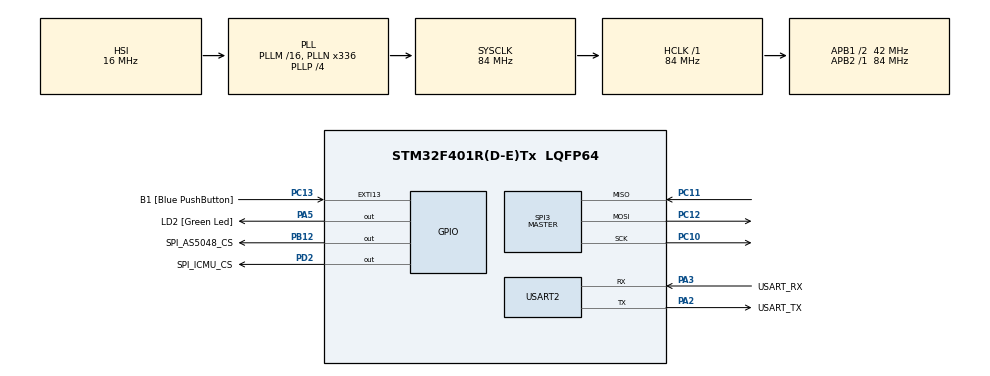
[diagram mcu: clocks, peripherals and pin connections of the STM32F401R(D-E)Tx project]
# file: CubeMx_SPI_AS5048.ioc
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Dma.Request0=SPI3_RX
Dma.Request1=SPI3_TX
Dma.SPI3_RX.0.Direction=DMA_PERIPH_TO_MEMORY
Dma.SPI3_RX.0.FIFOMode=DMA_FIFOMODE_DISABLE
Dma.SPI3_RX.0.Instance=DMA1_Stream0
Dma.SPI3_RX.0.MemDataAlignment=DMA_MDATAALIGN_BYTE
Dma.SPI3_RX.0.MemInc=DMA_MINC_ENABLE
Dma.SPI3_RX.0.Mode=DMA_NORMAL
Dma.SPI3_RX.0.PeriphDataAlignment=DMA_PDATAALIGN_BYTE
Dma.SPI3_RX.0.PeriphInc=DMA_PINC_DISABLE
Dma.SPI3_RX.0.Priority=DMA_PRIORITY_LOW
Dma.SPI3_TX.1.Direction=DMA_MEMORY_TO_PERIPH
Dma.SPI3_TX.1.FIFOMode=DMA_FIFOMODE_DISABLE
Dma.SPI3_TX.1.Instance=DMA1_Stream5
Dma.SPI3_TX.1.MemDataAlignment=DMA_MDATAALIGN_BYTE
Dma.SPI3_TX.1.MemInc=DMA_MINC_ENABLE
Dma.SPI3_TX.1.Mode=DMA_NORMAL
Dma.SPI3_TX.1.PeriphDataAlignment=DMA_PDATAALIGN_BYTE
Dma.SPI3_TX.1.PeriphInc=DMA_PINC_DISABLE
Dma.SPI3_TX.1.Priority=DMA_PRIORITY_LOW
Mcu.Family=STM32F4
Mcu.Name=STM32F401R(D-E)Tx
Mcu.Package=LQFP64
NVIC.DMA1_Stream0_IRQn=true\:0\:0\:false\:false\:true\:false\:true\:true
NVIC.DMA1_Stream5_IRQn=true\:0\:0\:false\:false\:true\:false\:true\:true
NVIC.PriorityGroup=NVIC_PRIORITYGROUP_4
NVIC.SPI3_IRQn=true\:0\:0\:false\:false\:true\:true\:true\:true
PA13.GPIO_Label=TMS
PA13.Mode=Serial_Wire
PA13.Signal=SYS_JTMS-SWDIO
PA14.GPIO_Label=TCK
PA14.Mode=Serial_Wire
PA14.Signal=SYS_JTCK-SWCLK
PA2.GPIO_Label=USART_TX
PA2.GPIO_Mode=GPIO_MODE_AF_PP
PA2.GPIO_PuPd=GPIO_NOPULL
PA2.GPIO_Speed=GPIO_SPEED_FREQ_LOW
PA2.Mode=Asynchronous
PA2.Signal=USART2_TX
PA3.GPIO_Label=USART_RX
PA3.GPIO_Mode=GPIO_MODE_AF_PP
PA3.GPIO_PuPd=GPIO_NOPULL
PA3.GPIO_Speed=GPIO_SPEED_FREQ_LOW
PA3.Mode=Asynchronous
PA3.Signal=USART2_RX
PA5.GPIO_Label=LD2 [Green Led]
PA5.GPIO_Mode=GPIO_MODE_OUTPUT_PP
PA5.GPIO_PuPd=GPIO_NOPULL
PA5.GPIO_Speed=GPIO_SPEED_FREQ_LOW
PA5.Signal=GPIO_Output
PB12.GPIO_Label=SPI_AS5048_CS
PB12.GPIO_PuPd=GPIO_PULLUP
PB12.GPIO_Speed=GPIO_SPEED_FREQ_VERY_HIGH
PB12.Signal=GPIO_Output
PB3.GPIO_Label=SWO
PB3.Signal=SYS_JTDO-SWO
PC10.Mode=Full_Duplex_Master
PC10.Signal=SPI3_SCK
PC11.Mode=Full_Duplex_Master
PC11.Signal=SPI3_MISO
PC12.Mode=Full_Duplex_Master
PC12.Signal=SPI3_MOSI
PC13-ANTI_TAMP.GPIO_Label=B1 [Blue PushButton]
PC13-ANTI_TAMP.GPIO_ModeDefaultEXTI=GPIO_MODE_IT_FALLING
PC13-ANTI_TAMP.GPIO_PuPd=GPIO_NOPULL
PC13-ANTI_TAMP.Signal=GPXTI13
PC14-OSC32_IN.Mode=LSE-External-Oscillator
PC14-OSC32_IN.Signal=RCC_OSC32_IN
PC15-OSC32_OUT.Mode=LSE-External-Oscillator
PC15-OSC32_OUT.Signal=RCC_OSC32_OUT
PD2.GPIO_Label=SPI_ICMU_CS
PD2.Signal=GPIO_Output
PH0\ -\ OSC_IN.Mode=HSE-External-Clock-Source
PH0\ -\ OSC_IN.Signal=RCC_OSC_IN
PH1\ -\ OSC_OUT.Mode=HSE-External-Clock-Source
PH1\ -\ OSC_OUT.Signal=RCC_OSC_OUT
ProjectManager.HeapSize=0x200
ProjectManager.StackSize=0x400
ProjectManager.TargetToolchain=STM32CubeIDE
RCC.48MHZClocksFreq_Value=48000000
RCC.AHBFreq_Value=84000000
RCC.APB1CLKDivider=RCC_HCLK_DIV2
RCC.APB1Freq_Value=42000000
RCC.APB1TimFreq_Value=84000000
RCC.APB2Freq_Value=84000000
RCC.APB2TimFreq_Value=84000000
RCC.CortexFreq_Value=84000000
RCC.HCLKFreq_Value=84000000
RCC.HSE_VALUE=8000000
RCC.HSI_VALUE=16000000
RCC.PLLN=336
RCC.PLLP=RCC_PLLP_DIV4
RCC.PLLQ=7
RCC.SYSCLKFreq_VALUE=84000000
RCC.SYSCLKSource=RCC_SYSCLKSOURCE_PLLCLK
RCC.VCOOutputFreq_Value=336000000
SPI3.BaudRatePrescaler=SPI_BAUDRATEPRESCALER_128
SPI3.Direction=SPI_DIRECTION_2LINES
SPI3.Mode=SPI_MODE_MASTER
SPI3.VirtualType=VM_MASTER
USART2.VirtualMode=VM_ASYNC
board=NUCLEO-F401RE

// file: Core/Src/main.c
/* USER CODE BEGIN Header */
/**
  ******************************************************************************
  * @file           : main.c
  * @brief          : Main program body
  ******************************************************************************
  * @attention
  *
  Debug program to test the SPI communication with AS5048 and icMU with DWT (µs dalay)
  * and cpp compilation in root mode (file system compatible with MC-SDK).
  *

  *
  ******************************************************************************
  */
/* USER CODE END Header */
#include "main.h"

/* USER CODE BEGIN Includes */
#include "stm32f4xx_hal.h"
#include "cpp_link.hpp"
#include "stdio.h"
#include "stdarg.h"
#include "string.h"
/* USER CODE END Includes */

 SPI_HandleTypeDef hspi3;
DMA_HandleTypeDef hdma_spi3_rx;
DMA_HandleTypeDef hdma_spi3_tx;

UART_HandleTypeDef huart2;

void SystemClock_Config(void);
static void MX_GPIO_Init(void);
static void MX_DMA_Init(void);
static void MX_USART2_UART_Init(void);
static void MX_SPI3_Init(void);

/* USER CODE BEGIN 0 */
#ifdef __GNUC__
	#define PUTCHAR_PROTOTYPE int __io_putchar(int ch)
#else
	#define PUTCHAR_PROTOTYPE int std::fputc(int ch, FILE *f)
#endif /* __GNUC__ */

/**
 * @brief Retargets the C library printf function to the USART.
 * @param None
 * @retval None
 */
#ifdef __cplusplus
 extern "C" {
#endif

		PUTCHAR_PROTOTYPE
		{
		 /* Place your implementation of fputc here */
		 /* e.g. write a character to the USART2 and Loop until the end of transmission */
		 HAL_UART_Transmit(&huart2, (uint8_t *)&ch, 1, 0xFFFF);

		return ch;
		}

#ifdef __cplusplus
}
#endif
/* USER CODE END 0 */

int main(void)
{

  /* MCU Configuration--------------------------------------------------------*/

  /* Reset of all peripherals, Initializes the Flash interface and the Systick. */
  HAL_Init();

  /* Configure the system clock */
  SystemClock_Config();

  /* Initialize all configured peripherals */
  MX_GPIO_Init();
  MX_DMA_Init();
  MX_USART2_UART_Init();
  MX_SPI3_Init();
  /* USER CODE BEGIN 2 */
  cpp_link(&hspi3);
  /* USER CODE END 2 */

  /* Infinite loop */
  while (1)
  {

  }
}

void SystemClock_Config(void)
{
  RCC_OscInitTypeDef RCC_OscInitStruct = {0};
  RCC_ClkInitTypeDef RCC_ClkInitStruct = {0};

  /** Configure the main internal regulator output voltage
  */
  __HAL_RCC_PWR_CLK_ENABLE();
  __HAL_PWR_VOLTAGESCALING_CONFIG(PWR_REGULATOR_VOLTAGE_SCALE2);

  /** Initializes the RCC Oscillators according to the specified parameters
  * in the RCC_OscInitTypeDef structure.
  */
  RCC_OscInitStruct.OscillatorType = RCC_OSCILLATORTYPE_HSI;
  RCC_OscInitStruct.HSIState = RCC_HSI_ON;
  RCC_OscInitStruct.HSICalibrationValue = RCC_HSICALIBRATION_DEFAULT;
  RCC_OscInitStruct.PLL.PLLState = RCC_PLL_ON;
  RCC_OscInitStruct.PLL.PLLSource = RCC_PLLSOURCE_HSI;
  RCC_OscInitStruct.PLL.PLLM = 16;
  RCC_OscInitStruct.PLL.PLLN = 336;
  RCC_OscInitStruct.PLL.PLLP = RCC_PLLP_DIV4;
  RCC_OscInitStruct.PLL.PLLQ = 7;
  if (HAL_RCC_OscConfig(&RCC_OscInitStruct) != HAL_OK)
  {
    Error_Handler();
  }

  /** Initializes the CPU, AHB and APB buses clocks
  */
  RCC_ClkInitStruct.ClockType = RCC_CLOCKTYPE_HCLK|RCC_CLOCKTYPE_SYSCLK
                              |RCC_CLOCKTYPE_PCLK1|RCC_CLOCKTYPE_PCLK2;
  RCC_ClkInitStruct.SYSCLKSource = RCC_SYSCLKSOURCE_PLLCLK;
  RCC_ClkInitStruct.AHBCLKDivider = RCC_SYSCLK_DIV1;
  RCC_ClkInitStruct.APB1CLKDivider = RCC_HCLK_DIV2;
  RCC_ClkInitStruct.APB2CLKDivider = RCC_HCLK_DIV1;

  if (HAL_RCC_ClockConfig(&RCC_ClkInitStruct, FLASH_LATENCY_2) != HAL_OK)
  {
    Error_Handler();
  }
}

static void MX_SPI3_Init(void)
{

  /* SPI3 parameter configuration*/
  hspi3.Instance = SPI3;
  hspi3.Init.Mode = SPI_MODE_MASTER;
  hspi3.Init.Direction = SPI_DIRECTION_2LINES;
  hspi3.Init.DataSize = SPI_DATASIZE_8BIT;
  hspi3.Init.CLKPolarity = SPI_POLARITY_LOW;
  hspi3.Init.CLKPhase = SPI_PHASE_1EDGE;
  hspi3.Init.NSS = SPI_NSS_SOFT;
  hspi3.Init.BaudRatePrescaler = SPI_BAUDRATEPRESCALER_128;
  hspi3.Init.FirstBit = SPI_FIRSTBIT_MSB;
  hspi3.Init.TIMode = SPI_TIMODE_DISABLE;
  hspi3.Init.CRCCalculation = SPI_CRCCALCULATION_DISABLE;
  hspi3.Init.CRCPolynomial = 10;
  if (HAL_SPI_Init(&hspi3) != HAL_OK)
  {
    Error_Handler();
  }

}

static void MX_USART2_UART_Init(void)
{

  huart2.Instance = USART2;
  huart2.Init.BaudRate = 115200;
  huart2.Init.WordLength = UART_WORDLENGTH_8B;
  huart2.Init.StopBits = UART_STOPBITS_1;
  huart2.Init.Parity = UART_PARITY_NONE;
  huart2.Init.Mode = UART_MODE_TX_RX;
  huart2.Init.HwFlowCtl = UART_HWCONTROL_NONE;
  huart2.Init.OverSampling = UART_OVERSAMPLING_16;
  if (HAL_UART_Init(&huart2) != HAL_OK)
  {
    Error_Handler();
  }

}

static void MX_DMA_Init(void)
{

  /* DMA controller clock enable */
  __HAL_RCC_DMA1_CLK_ENABLE();

  /* DMA interrupt init */
  /* DMA1_Stream0_IRQn interrupt configuration */
  HAL_NVIC_SetPriority(DMA1_Stream0_IRQn, 0, 0);
  HAL_NVIC_EnableIRQ(DMA1_Stream0_IRQn);
  /* DMA1_Stream5_IRQn interrupt configuration */
  HAL_NVIC_SetPriority(DMA1_Stream5_IRQn, 0, 0);
  HAL_NVIC_EnableIRQ(DMA1_Stream5_IRQn);

}

static void MX_GPIO_Init(void)
{
  GPIO_InitTypeDef GPIO_InitStruct = {0};

  /* GPIO Ports Clock Enable */
  __HAL_RCC_GPIOC_CLK_ENABLE();
  __HAL_RCC_GPIOH_CLK_ENABLE();
  __HAL_RCC_GPIOA_CLK_ENABLE();
  __HAL_RCC_GPIOB_CLK_ENABLE();
  __HAL_RCC_GPIOD_CLK_ENABLE();

  /*Configure GPIO pin Output Level */
  HAL_GPIO_WritePin(LD2_GPIO_Port, LD2_Pin, GPIO_PIN_RESET);

  /*Configure GPIO pin Output Level */
  HAL_GPIO_WritePin(SPI_AS5048_CS_GPIO_Port, SPI_AS5048_CS_Pin, GPIO_PIN_RESET);

  /*Configure GPIO pin Output Level */
  HAL_GPIO_WritePin(SPI_ICMU_CS_GPIO_Port, SPI_ICMU_CS_Pin, GPIO_PIN_RESET);

  /*Configure GPIO pin : B1_Pin */
  GPIO_InitStruct.Pin = B1_Pin;
  GPIO_InitStruct.Mode = GPIO_MODE_IT_FALLING;
  GPIO_InitStruct.Pull = GPIO_NOPULL;
  HAL_GPIO_Init(B1_GPIO_Port, &GPIO_InitStruct);

  /*Configure GPIO pin : LD2_Pin */
  GPIO_InitStruct.Pin = LD2_Pin;
  GPIO_InitStruct.Mode = GPIO_MODE_OUTPUT_PP;
  GPIO_InitStruct.Pull = GPIO_NOPULL;
  GPIO_InitStruct.Speed = GPIO_SPEED_FREQ_LOW;
  HAL_GPIO_Init(LD2_GPIO_Port, &GPIO_InitStruct);

  /*Configure GPIO pin : SPI_AS5048_CS_Pin */
  GPIO_InitStruct.Pin = SPI_AS5048_CS_Pin;
  GPIO_InitStruct.Mode = GPIO_MODE_OUTPUT_PP;
  GPIO_InitStruct.Pull = GPIO_PULLUP;
  GPIO_InitStruct.Speed = GPIO_SPEED_FREQ_VERY_HIGH;
  HAL_GPIO_Init(SPI_AS5048_CS_GPIO_Port, &GPIO_InitStruct);

  /*Configure GPIO pin : SPI_ICMU_CS_Pin */
  GPIO_InitStruct.Pin = SPI_ICMU_CS_Pin;
  GPIO_InitStruct.Mode = GPIO_MODE_OUTPUT_PP;
  GPIO_InitStruct.Pull = GPIO_NOPULL;
  GPIO_InitStruct.Speed = GPIO_SPEED_FREQ_LOW;
  HAL_GPIO_Init(SPI_ICMU_CS_GPIO_Port, &GPIO_InitStruct);

}

void Error_Handler(void)
{
}
